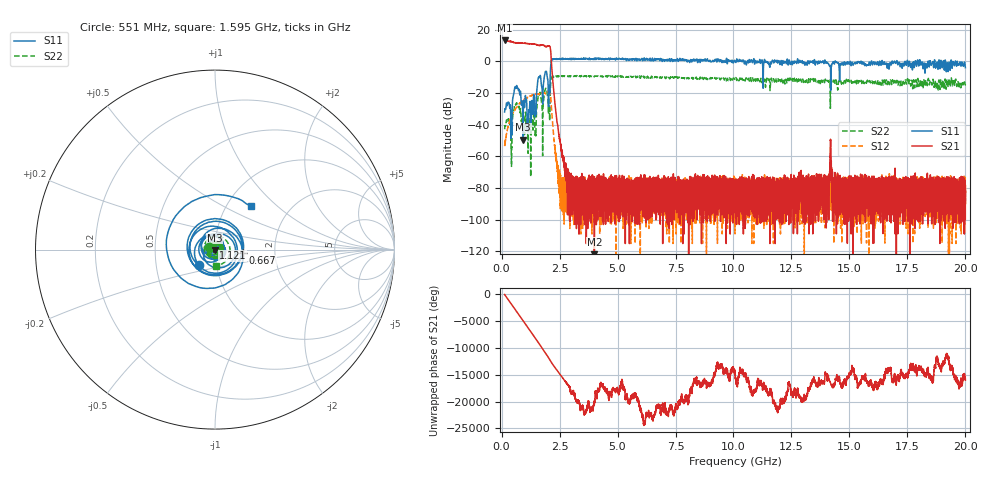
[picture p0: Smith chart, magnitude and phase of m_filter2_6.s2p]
!Created with skrf (http://scikit-rf.org).
# GHz S RI R 50.0
!freq ReS11 ImS11 ReS21 ImS21 ReS12 ImS12 ReS22 ImS22
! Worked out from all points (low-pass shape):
!   20013 points, 130 MHz to 20 GHz, reference 50 ohm
!   highest |S21| = 13.26 dB at 131 MHz (marker M1); lowest = -178.5 dB at 4 GHz (marker M2)
!   |S21| within 3 dB of the highest: start of sweep to 1.555 GHz; 1.693 GHz to 1.805 GHz (111.8 MHz wide, 6.39 % of centre) (the widest 2 of 5)
!   lowest |S11| = -49.5 dB at 922 MHz (marker M3), VSWR 1.01, Z = 49.8 - j0.23 ohm
!   |S11| at or under -10 dB: start of sweep to 1.636 GHz; 1.684 GHz to 1.839 GHz (154.6 MHz wide, 8.78 % of centre); 1.966 GHz to 2.093 GHz (126.4 MHz wide, 6.23 % of centre) (the widest 3 of 6)
!   |S22| runs from -73.0 to -8.9 dB; largest |S21 - S12| = 4.6
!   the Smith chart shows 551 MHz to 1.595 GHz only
!   S11 on the Smith chart (normalised r, x): 551 MHz: 0.82, -0.15; 667 MHz: 1.37, -0.05; 1.121 GHz: 0.98, +0.02; 1.595 GHz: 1.29, +0.69
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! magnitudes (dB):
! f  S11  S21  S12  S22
! 130 MHz  -31.9  13.3  -53.5  -42.9
! 131 MHz  -31.8  13.3  -53.3  -42.7
! 410 MHz  -42.5  12.6  -34.9  -56.6
! 551 MHz  -18.0  11.8  -31.0  -28.3
! 667 MHz  -16.1  11.8  -28.5  -26.9
! 922 MHz  -49.5  11.6  -24.6  -45.6
! 1.121 GHz  -37.7  11.3  -22.8  -43.0
! 1.406 GHz  -21.3  11.0  -21.0  -32.9
! 1.595 GHz  -10.0  10.2  -20.6  -21.0
! 2.063 GHz  -16.3  9.7  -19.3  -32.3
! 2.21 GHz  1.2  -12.6  -41.2  -9.6
! 2.549 GHz  1.7  -52.7  -80.2  -9.5
! 2.894 GHz  1.3  -75.4  -87.2  -9.4
! 3.442 GHz  2.0  -74.4  -73.8  -9.0
! 4 GHz  1.3  -178.5  -94.0  -9.5
! 6.754 GHz  1.6  -79.1  -76.2  -9.8
! 10.06 GHz  0.0  -80.9  -92.2  -11.6
! 13.38 GHz  -0.4  -79.6  -81.3  -12.5
! 14.21 GHz  -3.5  -62.5  -85.5  -13.4
! 14.37 GHz  -0.5  -75.6  -81.3  -13.4
! 16.69 GHz  -3.7  -81.1  -76.3  -12.0
! 20 GHz  -4.0  -89.8  -79.8  -14.5
